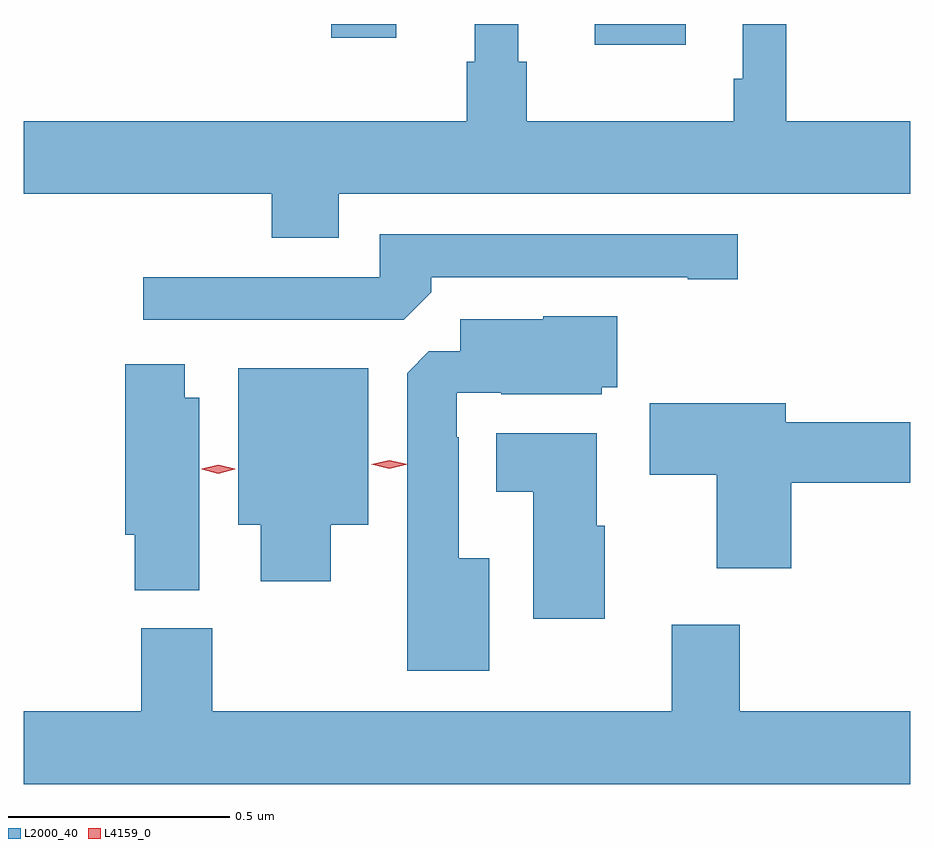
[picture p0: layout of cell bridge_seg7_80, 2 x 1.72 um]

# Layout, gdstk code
import gdstk
lib = gdstk.Library(unit=1e-6, precision=1e-09)
def R(c, l, rs):  # rectangles x0, y0, x1, y1
    for r in rs: c.add(gdstk.rectangle(r[:2], r[2:], *l))
def P(c, l, *ps):  # polygons
    for p in ps: c.add(gdstk.Polygon(p, *l))
L2000_40 = (2000, 40)
L4159_0 = (4159, 0)

bridge_seg7_80 = lib.new_cell('bridge_seg7_80')
R(bridge_seg7_80, L2000_40, [(1057.94,1006.28,1058.146,1006.327), (1057.346,1006.296,1057.492,1006.327)])
P(bridge_seg7_80, L2000_40, [(1057.363,1005.944),(1058.652,1005.944),(1058.652,1006.108),(1058.372,1006.108),(1058.372,1006.327),(1058.274,1006.327),(1058.274,1006.204),(1058.254,1006.204),(1058.254,1006.108),(1057.787,1006.108),(1057.787,1006.242),(1057.768,1006.242),(1057.768,1006.327),(1057.67,1006.327),(1057.67,1006.242),(1057.651,1006.242),(1057.651,1006.108),(1056.652,1006.108),(1056.652,1005.944),(1057.211,1005.944),(1057.211,1005.845),(1057.363,1005.845)],
  [(1057.571,1005.722),(1057.571,1005.756),(1058.15,1005.756),(1058.15,1005.751),(1058.263,1005.751),(1058.263,1005.852),(1057.455,1005.852),(1057.455,1005.756),(1056.921,1005.756),(1056.921,1005.66),(1057.509,1005.66)],
  [(1057.702,1005.121),(1057.633,1005.121),(1057.633,1005.395),(1057.629,1005.395),(1057.629,1005.495),(1057.729,1005.495),(1057.729,1005.491),(1057.956,1005.491),(1057.956,1005.507),(1057.991,1005.507),(1057.991,1005.667),(1057.824,1005.667),(1057.824,1005.661),(1057.637,1005.661),(1057.637,1005.588),(1057.566,1005.588),(1057.517,1005.539),(1057.517,1004.867),(1057.702,1004.867)],
  [(1057.048,1005.484),(1057.015,1005.484),(1057.015,1005.559),(1056.881,1005.559),(1056.881,1005.174),(1056.902,1005.174),(1056.902,1005.049),(1057.048,1005.049)],
  [(1057.345,1005.197),(1057.429,1005.197),(1057.429,1005.55),(1057.136,1005.55),(1057.136,1005.197),(1057.187,1005.197),(1057.187,1005.069),(1057.345,1005.069)],
  [(1058.384,1005.292),(1058.652,1005.292),(1058.652,1005.428),(1058.371,1005.428),(1058.371,1005.471),(1058.064,1005.471),(1058.064,1005.31),(1058.216,1005.31),(1058.216,1005.099),(1058.384,1005.099)],
  [(1057.963,1005.195),(1057.945,1005.195),(1057.945,1005.403),(1057.718,1005.403),(1057.718,1005.272),(1057.802,1005.272),(1057.802,1004.985),(1057.963,1004.985)],
  [(1058.652,1004.776),(1058.267,1004.776),(1058.267,1004.971),(1058.114,1004.971),(1058.114,1004.776),(1057.077,1004.776),(1057.077,1004.964),(1056.917,1004.964),(1056.917,1004.776),(1056.652,1004.776),(1056.652,1004.612),(1058.652,1004.612)])
P(bridge_seg7_80, L4159_0, [(1057.477,1005.323),(1057.436,1005.333),(1057.436,1005.333),(1057.436,1005.333),(1057.477,1005.343),(1057.518,1005.333),(1057.518,1005.333),(1057.518,1005.333)],
  [(1057.091,1005.312),(1057.054,1005.322),(1057.053,1005.322),(1057.054,1005.323),(1057.091,1005.332),(1057.128,1005.323),(1057.129,1005.322),(1057.128,1005.322)])

lib.write_gds('bridge_seg7_80.gds')
